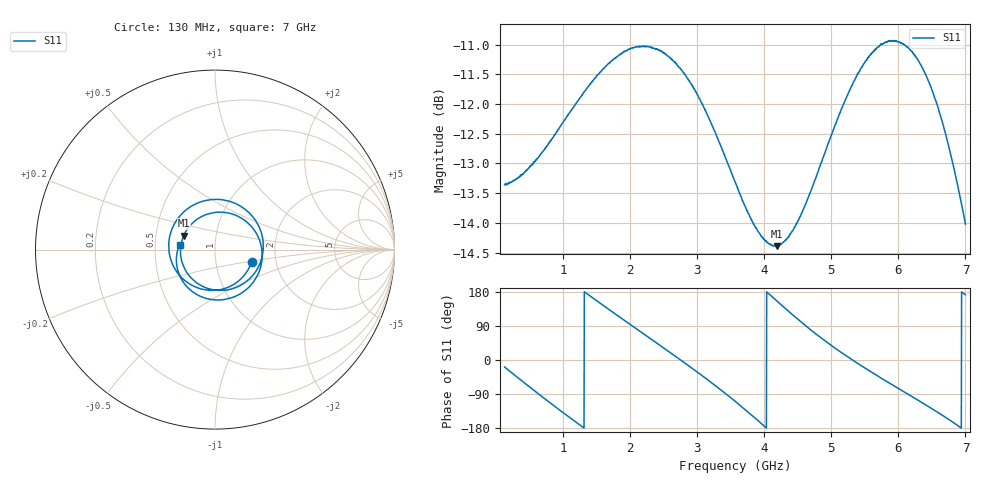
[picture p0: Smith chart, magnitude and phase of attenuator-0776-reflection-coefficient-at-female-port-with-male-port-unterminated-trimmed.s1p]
! This is a Touchstone .s1p format file
! It should be saved with .s1p extension.
! HEWLETT PACKARD,8720D,0,7.74
! Date =  2 Feb 2024
! Time = 14:00:13
! S11 measured = FALSE
! S21 measured = FALSE
! S12 measured = FALSE
! S22 measured = TRUE
! Start frequency = 0.130000000 GHz
! Stop frequency  = 7.000000000 GHz
! IF bandwidth = 300 Hz
! Smoothing = OFF
! Smoothing aperture = 1.000000 %
! Averaging = OFF
! Averaging factor = 16
! Source power = On
! Source power = Auto mode
! Output power level = 5.000000 dBm
! Retrace power = Off
! Testset switching = Continuous
! Number of sweeps for test set switching (0=hold, 1=continuous,2-999 = number of sweeps) = 1
! Step sweep = On (check)
! List frequency sweep = Off (check)
! IFBW setting for a list-frequency table in swept list mode = Disabled (Check)
! Power setting for a list-frequency table in swept list mode = Disabled (Check)
! Measurement mode = Chop A and B
! Port extensions = OFF
! Port extension 1 = 0.000000 ps
! Port extension 2 = 74.240003 ps
! Points  = 1601
! Calibration kit = 3.5 mm E
! Calibration = S22 1-port
! Power = 5.000000 dBm
! Frequency magS22 angS22
! Magnitudes are in log form
! Angles are in degrees
# MHz S DB R 50
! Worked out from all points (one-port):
!   1583 points, 130 MHz to 7 GHz, reference 50 ohm
!   lowest |S11| = -14.4 dB at 4.19 GHz (marker M1), VSWR 1.47, Z = 34.8 + j5.65 ohm
!   |S11| at or under -10 dB: start of sweep to end of sweep
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130  -13.35 -18.3
579.9375  -12.97 -81.9
784.0938  -12.66 -109.7
992.5938  -12.32 -137.6
1209.781  -11.97 -166.0
1413.938  -11.66 167.7
1618.094  -11.39 141.8
1848.312  -11.17 113.0
2043.781  -11.05 88.7
2239.25  -11.03 64.4
2486.844  -11.13 33.5
2708.375  -11.35 5.7
2929.906  -11.69 -22.5
3177.5  -12.24 -54.9
3372.969  -12.77 -81.4
3568.438  -13.31 -109.1
3894.219  -14.11 -157.8
4189.594  -14.39 155.8
4424.156  -14.13 119.2
4819.438  -13.08 62.2
5071.375  -12.32 29.4
5284.219  -11.74 3.8
5662.125  -11.07 -38.7
5914.062  -10.94 -65.9
6144.281  -11.05 -90.3
6361.469  -11.40 -113.4
6604.719  -12.10 -140.0
7000  -14.02 172.3
